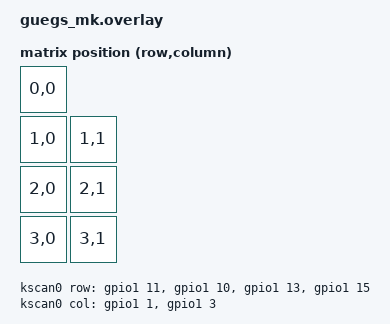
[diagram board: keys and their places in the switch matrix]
#include <dt-bindings/zmk/matrix_transform.h>

/ {
	chosen {
		zmk,kscan = &kscan0;
		zmk,matrix_transform = &default_transform;
	};

    default_transform: keymap_transform_0 {
        compatible = "zmk,matrix-transform";
        columns = <2>;
        rows = <4>;
        map = <
			RC(0,0)  
			RC(1,0)  RC(1,1)
			RC(2,0)  RC(2,1)
			RC(3,0)  RC(3,1)
        >;
    };

	kscan0: kscan_0 {
		compatible = "zmk,kscan-gpio-matrix";
		label = "KSCAN";
		diode-direction = "col2row";

		col-gpios
			= <&gpio1 1 GPIO_ACTIVE_HIGH> 
			, <&gpio1 3 GPIO_ACTIVE_HIGH>
			;
			
		row-gpios
			= <&gpio1 11 (GPIO_ACTIVE_HIGH | GPIO_PULL_DOWN)>
			, <&gpio1 10 (GPIO_ACTIVE_HIGH | GPIO_PULL_DOWN)>
			, <&gpio1 13 (GPIO_ACTIVE_HIGH | GPIO_PULL_DOWN)>
			, <&gpio1 15 (GPIO_ACTIVE_HIGH | GPIO_PULL_DOWN)>
			;
	};

};

&left_encoder {
	status = "okay";
};


